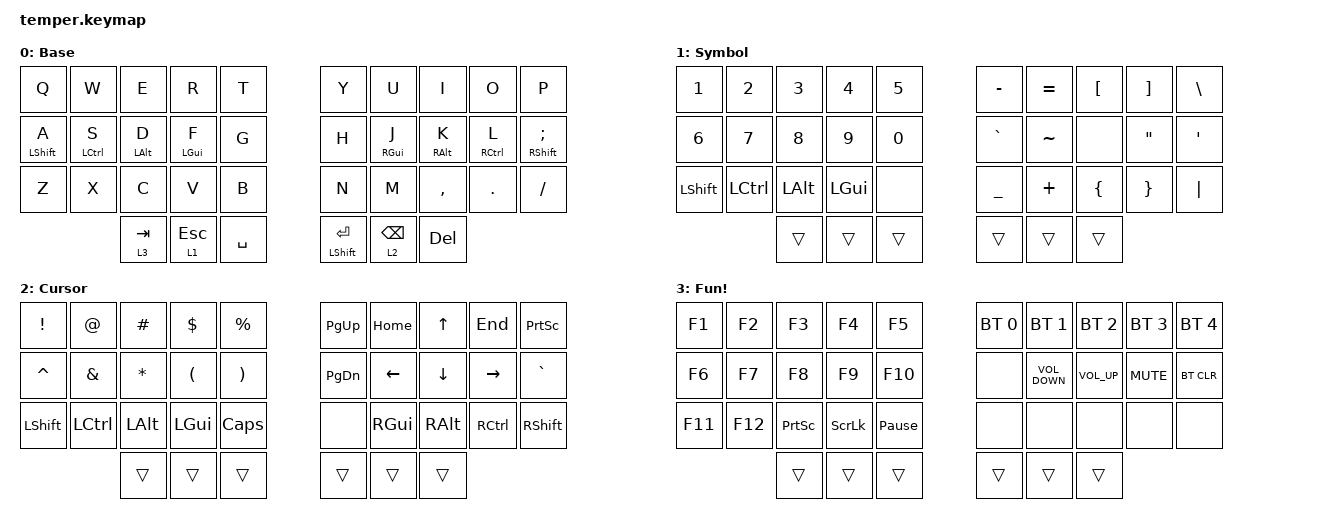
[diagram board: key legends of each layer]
/*
 * Copyright (c) 2020 duckyb
 *
 * SPDX-License-Identifier: MIT
 */

#include <dt-bindings/zmk/mouse.h>
#include <behaviors.dtsi>
#include <dt-bindings/zmk/bt.h>
#include <dt-bindings/zmk/keys.h>

#define Base 0
#define SYM 1
#define NAV 2
#define FUN 3

&sk { quick-release; };

&lt {
    flavor = "hold-preferred";
    quick-tap-ms = <180>;
};

/ {
    behaviors {
        hm: hm {
            compatible = "zmk,behavior-hold-tap";
            label = "HM";
            bindings = <&kp>, <&kp>;

            #binding-cells = <2>;
            quick-tap-ms = <170>;
            tapping-term-ms = <190>;
            global-quick-tap;
            flavor = "tap-preferred";
        };

        hml: hml {
            compatible = "zmk,behavior-hold-tap";
            label = "HML";
            bindings = <&kp>, <&kp>;

            #binding-cells = <2>;
            tapping-term-ms = <200>;
            quick-tap-ms = <150>;
            require-prior-idle-ms = <150>;
            flavor = "balanced";
            hold-trigger-on-release;
            hold-trigger-key-positions = <0 1 2 3 4 20 21 22 23 24 14 30 31 32 33 34 35 25 15 5 6 16 26 27 17 7 8 18 28 29 19 9>;
        };

        hmr: hmr {
            compatible = "zmk,behavior-hold-tap";
            label = "HMR";
            bindings = <&kp>, <&kp>;

            #binding-cells = <2>;
            tapping-term-ms = <280>;
            quick-tap-ms = <175>;
            require-prior-idle-ms = <150>;
            flavor = "balanced";
            hold-trigger-on-release;
            hold-trigger-key-positions = <0 10 20 21 1 11 12 2 3 4 24 14 13 23 22 30 31 32 33 34 35 25 26 28 27 29 9 8 7 6 5 15>;
        };

        mo_tog: mo_tog {
            compatible = "zmk,behavior-hold-tap";
            label = "MO_TOG";
            bindings = <&mo>, <&tog>;

            #binding-cells = <2>;
            tapping-term-ms = <200>;
            quick-tap-ms = <180>;
        };
    };

    combos {
        compatible = "zmk,combos";

        left_bkt {
            bindings = <&kp LBKT>;
            key-positions = <3 4>;
            timeout-ms = <30>;
        };

        right_bkt {
            bindings = <&kp RBKT>;
            key-positions = <6 5>;
            timeout-ms = <30>;
        };

        left_par {
            bindings = <&kp LEFT_PARENTHESIS>;
            key-positions = <13 14>;
            timeout-ms = <30>;
        };

        right_par {
            bindings = <&kp RIGHT_PARENTHESIS>;
            key-positions = <16 15>;
            timeout-ms = <30>;
        };

        left_brace {
            bindings = <&kp LEFT_BRACE>;
            key-positions = <23 24>;
            timeout-ms = <35>;
        };

        right_brace {
            bindings = <&kp RIGHT_BRACE>;
            key-positions = <26 25>;
            timeout-ms = <35>;
        };

        bac {
            bindings = <&kp BACKSLASH>;
            key-positions = <3 14>;
        };

        pipe {
            bindings = <&kp PIPE>;
            key-positions = <15 5>;
            timeout-ms = <30>;
        };

        esc {
            bindings = <&kp ESC>;
            key-positions = <11 12>;
            timeout-ms = <30>;
        };

        enter {
            bindings = <&kp ENTER>;
            key-positions = <16 17>;
            timeout-ms = <30>;
        };

        tab {
            bindings = <&kp TAB>;
            key-positions = <12 13>;
            timeout-ms = <30>;
        };

        back {
            bindings = <&kp BACKSPACE>;
            key-positions = <17 18>;
            timeout-ms = <30>;
        };

        del {
            bindings = <&kp DELETE>;
            key-positions = <27 28>;
            timeout-ms = <30>;
        };

        copy {
            bindings = <&kp LG(C)>;
            key-positions = <21 22>;
            timeout-ms = <30>;
        };

        paste {
            bindings = <&kp LG(V)>;
            key-positions = <22 23>;
            timeout-ms = <30>;
        };

        slash {
            bindings = <&kp SLASH>;
            key-positions = <15 6>;
        };
    };

    keymap {
        compatible = "zmk,keymap";

        base {
            label = "Base";
            display-name = "Base";
            bindings = <
  &kp Q              &kp W         &kp E            &kp R         &kp T        &kp Y                 &kp U            &kp I             &kp O         &kp P
  &hml LEFT_SHIFT A  &hml LCTRL S  &hml LEFT_ALT D  &hml LGUI F   &kp G        &kp H                 &hmr RGUI J      &hmr RIGHT_ALT K  &hmr RCTRL L  &hmr RSHIFT SEMICOLON
  &kp Z              &kp X         &kp C            &kp V         &kp B        &kp N                 &kp M            &kp COMMA         &kp DOT       &kp FSLH
                                   &lt 3 TAB        &lt 1 ESCAPE  &kp SPACE    &mt LEFT_SHIFT ENTER  &lt 2 BACKSPACE  &kp DEL
            >;
        };

        sym {
            display-name = "Symbol";
            label = "SYM";
            bindings = <
  &kp N1        &kp N2     &kp N3        &kp N4    &kp N5    &kp MINUS       &kp EQUAL  &kp LEFT_BRACKET  &kp RIGHT_BRACKET  &kp BACKSLASH
  &kp NUMBER_6  &kp N7     &kp N8        &kp N9    &kp N0    &kp GRAVE       &kp TILDE  &none             &kp DOUBLE_QUOTES  &kp SQT
  &kp LSHFT     &kp LCTRL  &kp LEFT_ALT  &kp LGUI  &none     &kp UNDERSCORE  &kp PLUS   &kp LEFT_BRACE    &kp RIGHT_BRACE    &kp PIPE
                           &trans        &trans    &trans    &trans          &trans     &trans
            >;
        };

        nav {
            label = "NAV";
            display-name = "Cursor";
            bindings = <
  &kp EXCLAMATION  &kp AT         &kp HASH      &kp DOLLAR    &kp PERCENT    &kp PG_UP      &kp HOME  &kp UP         &kp END    &kp PRINTSCREEN
  &kp CARET        &kp AMPERSAND  &kp STAR      &kp LPAR      &kp RPAR       &kp PAGE_DOWN  &kp LEFT  &kp DOWN       &kp RIGHT  &kp GRAVE
  &kp LSHFT        &kp LCTRL      &kp LEFT_ALT  &kp LEFT_GUI  &kp CAPS       &none          &kp RGUI  &kp RIGHT_ALT  &kp RCTRL  &kp RSHFT
                                  &trans        &trans        &trans         &trans         &trans    &trans
            >;
        };

        fun {
            bindings = <
  &kp F1   &kp F2   &kp F3           &kp F4          &kp F5             &bt BT_SEL 0  &bt BT_SEL 1       &bt BT_SEL 2     &bt BT_SEL 3  &bt BT_SEL 4
  &kp F6   &kp F7   &kp F8           &kp F9          &kp F10            &none         &kp C_VOLUME_DOWN  &kp C_VOLUME_UP  &kp K_MUTE    &bt BT_CLR
  &kp F11  &kp F12  &kp PRINTSCREEN  &kp SCROLLLOCK  &kp PAUSE_BREAK    &none         &none              &none            &none         &none
                    &trans           &trans          &trans             &trans        &trans             &trans
            >;

            display-name = "Fun!";
            label = "FUN";
        };
    };
};
